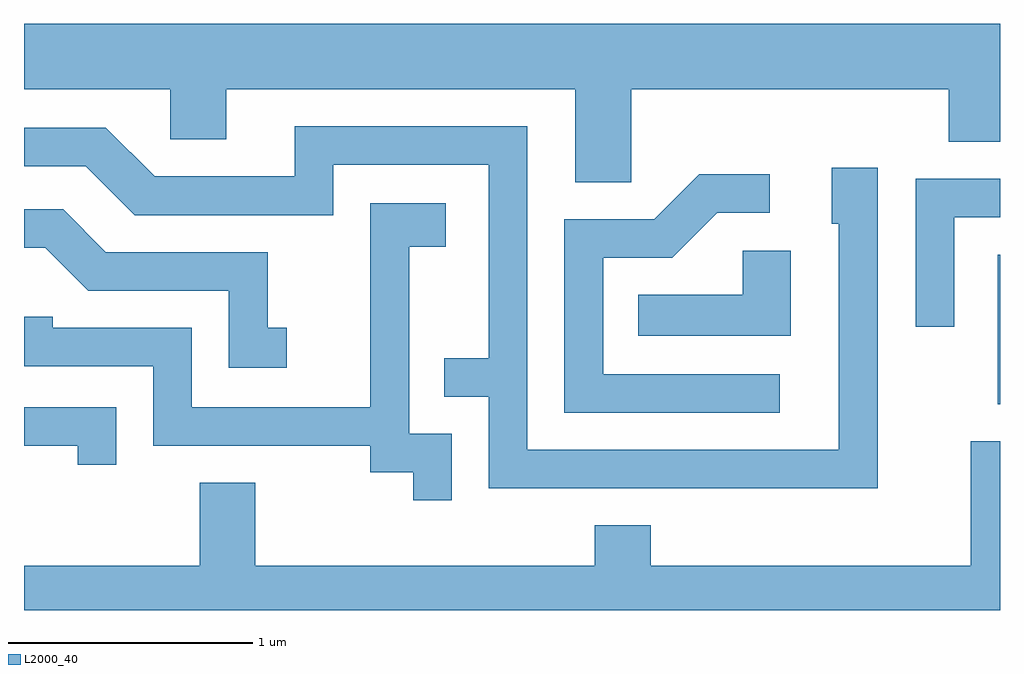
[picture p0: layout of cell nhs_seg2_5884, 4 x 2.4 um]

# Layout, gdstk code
import gdstk
lib = gdstk.Library(unit=1e-6, precision=1e-09)
def R(c, l, rs):  # rectangles x0, y0, x1, y1
    for r in rs: c.add(gdstk.rectangle(r[:2], r[2:], *l))
def P(c, l, *ps):  # polygons
    for p in ps: c.add(gdstk.Polygon(p, *l))
L2000_40 = (2000, 40)

nhs_seg2_5884 = lib.new_cell('nhs_seg2_5884')
R(nhs_seg2_5884, L2000_40, [(363.601,982.646,363.611,983.259)])
P(nhs_seg2_5884, L2000_40, [(362.099,983.936),(363.401,983.936),(363.401,983.721),(363.611,983.721),(363.611,984.204),(359.611,984.204),(359.611,983.936),(360.211,983.936),(360.211,983.731),(360.439,983.731),(360.439,983.936),(361.871,983.936),(361.871,983.556),(362.099,983.556)],
  [(363.109,983.614),(362.921,983.614),(362.921,983.386),(362.951,983.386),(362.951,982.459),(361.674,982.459),(361.674,983.784),(360.721,983.784),(360.721,983.579),(360.147,983.579),(359.947,983.779),(359.611,983.779),(359.611,983.621),(359.864,983.621),(360.064,983.421),(360.879,983.421),(360.879,983.626),(361.516,983.626),(361.516,982.834),(361.333,982.834),(361.333,982.676),(361.516,982.676),(361.516,982.301),(363.109,982.301)],
  [(362.708,982.769),(361.984,982.769),(361.984,983.246),(362.267,983.246),(362.452,983.431),(362.668,983.431),(362.668,983.589),(362.379,983.589),(362.194,983.404),(361.826,983.404),(361.826,982.611),(362.708,982.611)],
  [(363.424,983.411),(363.611,983.411),(363.611,983.569),(363.266,983.569),(363.266,982.963),(363.424,982.963)],
  [(361.364,982.524),(361.189,982.524),(361.189,983.291),(361.339,983.291),(361.339,983.469),(361.031,983.469),(361.031,982.634),(360.299,982.634),(360.299,982.959),(359.729,982.959),(359.729,983.004),(359.611,983.004),(359.611,982.801),(360.141,982.801),(360.141,982.476),(361.031,982.476),(361.031,982.366),(361.206,982.366),(361.206,982.253),(361.364,982.253)],
  [(360.688,982.959),(360.609,982.959),(360.609,983.269),(359.947,983.269),(359.772,983.444),(359.611,983.444),(359.611,983.286),(359.699,983.286),(359.874,983.111),(360.451,983.111),(360.451,982.796),(360.688,982.796)],
  [(362.754,983.274),(362.556,983.274),(362.556,983.094),(362.128,983.094),(362.128,982.926),(362.754,982.926)],
  [(359.989,982.634),(359.611,982.634),(359.611,982.476),(359.831,982.476),(359.831,982.398),(359.989,982.398)],
  [(363.611,982.494),(363.491,982.494),(363.491,981.984),(362.179,981.984),(362.179,982.149),(361.951,982.149),(361.951,981.984),(360.559,981.984),(360.559,982.324),(360.331,982.324),(360.331,981.984),(359.611,981.984),(359.611,981.802),(363.611,981.802)])

lib.write_gds('nhs_seg2_5884.gds')
